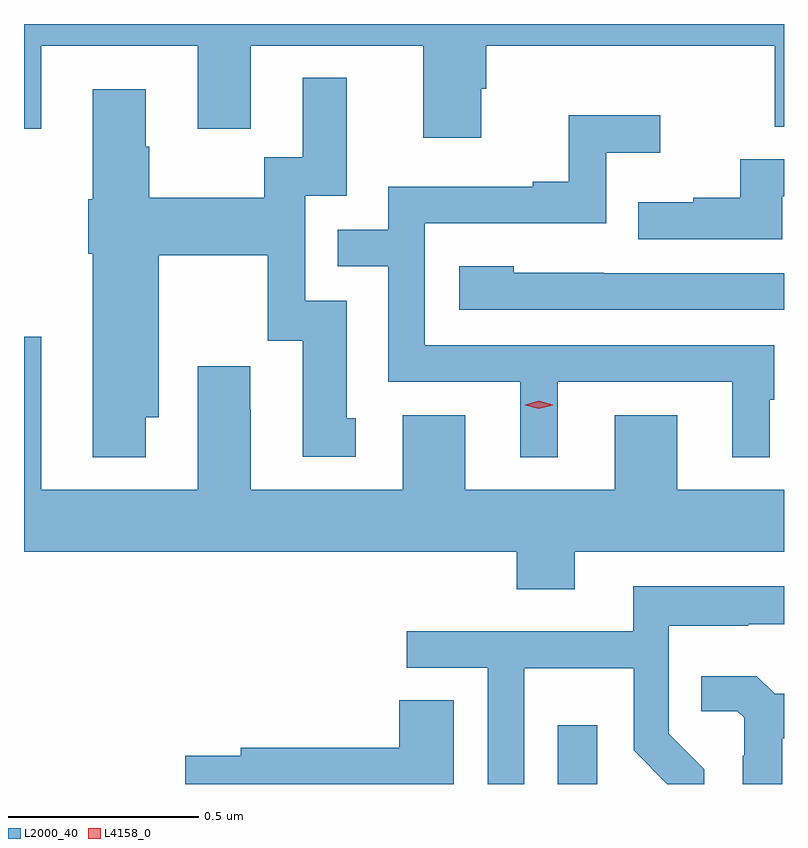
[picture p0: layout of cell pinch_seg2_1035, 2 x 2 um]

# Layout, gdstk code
import gdstk
lib = gdstk.Library(unit=1e-6, precision=1e-09)
def R(c, l, rs):  # rectangles x0, y0, x1, y1
    for r in rs: c.add(gdstk.rectangle(r[:2], r[2:], *l))
def P(c, l, *ps):  # polygons
    for p in ps: c.add(gdstk.Polygon(p, *l))
L2000_40 = (2000, 40)
L4158_0 = (4158, 0)

pinch_seg2_1035 = lib.new_cell('pinch_seg2_1035')
R(pinch_seg2_1035, L2000_40, [(159.551,593.745,159.655,593.899)])
P(pinch_seg2_1035, L2000_40, [(158.146,595.47),(158.191,595.47),(158.191,595.688),(158.603,595.688),(158.603,595.47),(158.743,595.47),(158.743,595.688),(159.197,595.688),(159.197,595.446),(159.349,595.446),(159.349,595.575),(159.362,595.575),(159.362,595.688),(160.122,595.688),(160.122,595.474),(160.146,595.474),(160.146,595.745),(158.146,595.745)],
  [(158.467,594.71),(158.5,594.71),(158.5,595.136),(158.787,595.136),(158.787,594.911),(158.879,594.911),(158.879,594.606),(159.019,594.606),(159.019,594.708),(158.995,594.708),(158.995,595.017),(158.886,595.017),(158.886,595.293),(158.995,595.293),(158.995,595.603),(158.879,595.603),(158.879,595.394),(158.778,595.394),(158.778,595.288),(158.475,595.288),(158.475,595.422),(158.467,595.422),(158.467,595.573),(158.327,595.573),(158.327,595.284),(158.315,595.284),(158.315,595.14),(158.327,595.14),(158.327,594.605),(158.467,594.605)],
  [(159.55,594.804),(160.01,594.804),(160.01,594.605),(160.108,594.605),(160.108,594.756),(160.12,594.756),(160.12,594.9),(159.201,594.9),(159.201,595.221),(159.678,595.221),(159.678,595.406),(159.82,595.406),(159.82,595.505),(159.58,595.505),(159.58,595.33),(159.485,595.33),(159.485,595.317),(159.105,595.317),(159.105,595.203),(158.971,595.203),(158.971,595.107),(159.105,595.107),(159.105,594.804),(159.452,594.804),(159.452,594.605),(159.55,594.605)],
  [(160.141,595.292),(160.146,595.292),(160.146,595.389),(160.031,595.389),(160.031,595.288),(159.907,595.288),(159.907,595.276),(159.763,595.276),(159.763,595.179),(160.141,595.179)],
  [(160.146,595.089),(159.671,595.089),(159.671,595.09),(159.435,595.09),(159.435,595.108),(159.291,595.108),(159.291,594.993),(160.146,594.993)],
  [(159.595,594.356),(160.146,594.356),(160.146,594.52),(159.865,594.52),(159.865,594.715),(159.701,594.715),(159.701,594.52),(159.307,594.52),(159.307,594.715),(159.143,594.715),(159.143,594.52),(158.743,594.52),(158.743,594.731),(158.741,594.731),(158.741,594.844),(158.603,594.844),(158.603,594.52),(158.191,594.52),(158.191,594.922),(158.146,594.922),(158.146,594.356),(159.443,594.356),(159.443,594.257),(159.595,594.257)],
  [(159.462,594.05),(159.75,594.05),(159.75,593.834),(159.839,593.745),(159.936,593.745),(159.936,593.784),(159.843,593.877),(159.843,594.161),(160.052,594.161),(160.052,594.165),(160.146,594.165),(160.146,594.265),(159.749,594.265),(159.749,594.147),(159.153,594.147),(159.153,594.051),(159.366,594.051),(159.366,593.745),(159.462,593.745)],
  [(160.141,593.866),(160.146,593.866),(160.146,593.982),(160.122,593.982),(160.074,594.029),(159.928,594.029),(159.928,593.937),(160.023,593.937),(160.041,593.919),(160.041,593.819),(160.037,593.819),(160.037,593.745),(160.141,593.745)],
  [(159.277,593.966),(159.134,593.966),(159.134,593.84),(158.716,593.84),(158.716,593.82),(158.57,593.82),(158.57,593.745),(159.277,593.745)])
P(pinch_seg2_1035, L4158_0, [(159.501,594.733),(159.465,594.742),(159.465,594.743),(159.465,594.743),(159.501,594.753),(159.537,594.743),(159.537,594.743),(159.537,594.742)])

lib.write_gds('pinch_seg2_1035.gds')
